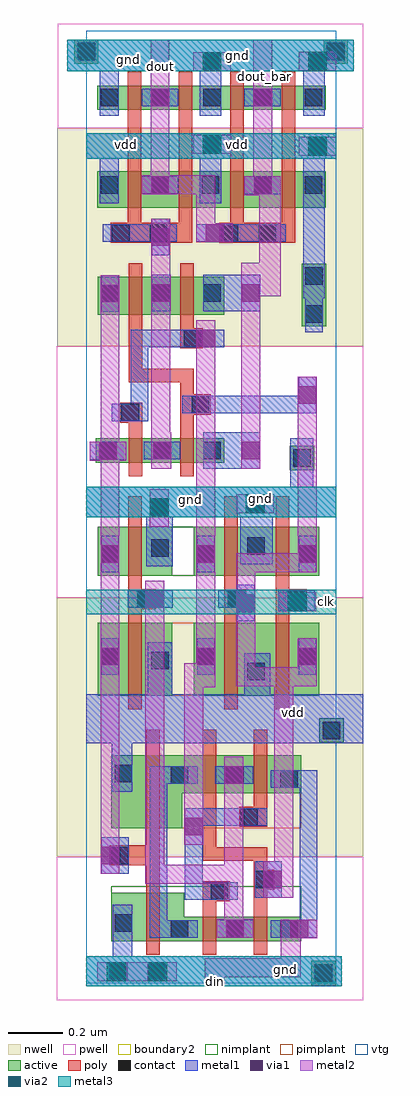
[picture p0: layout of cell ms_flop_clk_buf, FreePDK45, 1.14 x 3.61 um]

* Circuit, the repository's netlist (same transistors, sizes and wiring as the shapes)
************************************************************************
* auCdl Netlist:
* 
* Library Name:  openram
* Top Cell Name: ms_flop_clk_buf
* View Name:     schematic
* Netlisted on:  Jan 18 01:43:54 2021
************************************************************************

*.EQUATION
*.SCALE METER
*.MEGA
.PARAM



************************************************************************
* Library Name: openram
* Cell Name:    dlatch_clk_clk_bar
* View Name:    schematic
************************************************************************

.SUBCKT dlatch_clk_clk_bar clk clk_bar din dout dout_bar gnd vdd
MM4 int clk_bar din gnd NMOS_VTG W=90n L=50n m=1
MM2 int clk dout gnd NMOS_VTG W=90n L=50n m=1
MM0 dout dout_bar gnd gnd NMOS_VTG W=180.0n L=50n m=1
MM12 dout_bar int gnd gnd NMOS_VTG W=180.0n L=50n m=1
MM5 int clk din vdd PMOS_VTG W=140.0n L=50n m=1
MM3 int clk_bar dout vdd PMOS_VTG W=140.0n L=50n m=1
MM1 dout dout_bar vdd vdd PMOS_VTG W=270.0n L=50n m=1
MM11 dout_bar int vdd vdd PMOS_VTG W=270.0n L=50n m=1
.ENDS

************************************************************************
* Library Name: openram
* Cell Name:    ms_flop_clk_buf
* View Name:    schematic
************************************************************************

.SUBCKT ms_flop_clk_buf clk din dout dout_bar gnd vdd
XI1 clk_bar clk_buf mout_bar dout_bar dout gnd vdd / dlatch_clk_clk_bar
XI0 clk_buf clk_bar din mout mout_bar gnd vdd / dlatch_clk_clk_bar
MM1 clk_buf clk_bar gnd gnd NMOS_VTG W=90n L=50n m=2
MM12 clk_bar clk gnd gnd NMOS_VTG W=90n L=50n m=2
MM0 clk_buf clk_bar vdd vdd PMOS_VTG W=135.00n L=50n m=2
MM11 clk_bar clk vdd vdd PMOS_VTG W=135.00n L=50n m=2
.ENDS

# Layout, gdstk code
from math import pi, radians
import gdstk
lib = gdstk.Library(unit=1e-6, precision=5e-10)
def R(c, l, rs):  # rectangles x0, y0, x1, y1
    for r in rs: c.add(gdstk.rectangle(r[:2], r[2:], *l))
def A(c, l, x, y, w, h, nx, ny, dx, dy):  # array of equal rectangles
    R(c, l, [(x+i*dx, y+j*dy, x+i*dx+w, y+j*dy+h) for i in range(nx) for j in range(ny)])
active = (1, 0)
pwell = (2, 0)
nwell = (3, 0)
nimplant = (4, 0)
pimplant = (5, 0)
vtg = (6, 0)
poly = (9, 0)
contact = (10, 0)
metal1 = (11, 0)
via1 = (12, 0)
metal2 = (13, 0)
via2 = (14, 0)
metal3 = (15, 0)
boundary2 = (239, 0)

m1_p_cdns_611742388560 = lib.new_cell('M1_P_CDNS_611742388560')
R(m1_p_cdns_611742388560, active, [(-0.045,-0.045,0.045,0.045)])
R(m1_p_cdns_611742388560, pimplant, [(-0.045,-0.045,0.045,0.045)])
R(m1_p_cdns_611742388560, contact, [(-0.0325,-0.0325,0.0325,0.0325)])
R(m1_p_cdns_611742388560, metal1, [(-0.0325,-0.0675,0.0325,0.0675)])

m1_poly_cdns_61174238856 = lib.new_cell('M1_POLY_CDNS_611742388561')
R(m1_poly_cdns_61174238856, poly, [(-0.0375,-0.0375,0.0375,0.0375)])
R(m1_poly_cdns_61174238856, contact, [(-0.0325,-0.0325,0.0325,0.0325)])
R(m1_poly_cdns_61174238856, metal1, [(-0.0325,-0.0675,0.0325,0.0675)])

m1_n_cdns_611742388562 = lib.new_cell('M1_N_CDNS_611742388562')
R(m1_n_cdns_611742388562, active, [(-0.045,-0.045,0.045,0.045)])
R(m1_n_cdns_611742388562, nimplant, [(-0.045,-0.045,0.045,0.045)])
R(m1_n_cdns_611742388562, contact, [(-0.0325,-0.0325,0.0325,0.0325)])
R(m1_n_cdns_611742388562, metal1, [(-0.0325,-0.0675,0.0325,0.0675)])

m2_m1_cdns_611742388563 = lib.new_cell('M2_M1_CDNS_611742388563')
R(m2_m1_cdns_611742388563, metal1, [(-0.0325,-0.0675,0.0325,0.0675)])
R(m2_m1_cdns_611742388563, via1, [(-0.0325,-0.0325,0.0325,0.0325)])
R(m2_m1_cdns_611742388563, metal2, [(-0.0675,-0.035,0.0675,0.035)])

m2_m1_cdns_611742388564 = lib.new_cell('M2_M1_CDNS_611742388564')
R(m2_m1_cdns_611742388564, metal1, [(-0.0325,-0.0675,0.0325,0.0675)])
R(m2_m1_cdns_611742388564, via1, [(-0.0325,-0.0325,0.0325,0.0325)])
R(m2_m1_cdns_611742388564, metal2, [(-0.035,-0.0675,0.035,0.0675)])

c_m1_poly_cdns_61174238856 = lib.new_cell('M1_POLY_CDNS_611742388565')
R(c_m1_poly_cdns_61174238856, poly, [(-0.0375,-0.1075,0.0375,0.1075)])
R(c_m1_poly_cdns_61174238856, contact, [(-0.0325,-0.1025,0.0325,-0.0375), (-0.0325,0.0375,0.0325,0.1025)])
R(c_m1_poly_cdns_61174238856, metal1, [(-0.0325,-0.1375,0.0325,0.1375)])

ntap_cdns_611742388566 = lib.new_cell('NTAP_CDNS_611742388566')
R(ntap_cdns_611742388566, active, [(-0.045,-0.115,0.045,0.115)])
R(ntap_cdns_611742388566, nwell, [(-0.1,-0.17,0.1,0.17)])
R(ntap_cdns_611742388566, nimplant, [(-0.045,-0.115,0.045,0.115)])
R(ntap_cdns_611742388566, contact, [(-0.0325,-0.1025,0.0325,-0.0375), (-0.0325,0.0375,0.0325,0.1025)])
R(ntap_cdns_611742388566, metal1, [(-0.0325,-0.1375,0.0325,0.1375)])

m3_m2_cdns_611742388567 = lib.new_cell('M3_M2_CDNS_611742388567')
R(m3_m2_cdns_611742388567, metal2, [(-0.035,-0.07,0.035,0.07)])
R(m3_m2_cdns_611742388567, via2, [(-0.035,-0.035,0.035,0.035)])
R(m3_m2_cdns_611742388567, metal3, [(-0.035,-0.07,0.035,0.07)])

m3_m2_cdns_611742388568 = lib.new_cell('M3_M2_CDNS_611742388568')
R(m3_m2_cdns_611742388568, metal2, [(-0.035,-0.07,0.035,0.07)])
R(m3_m2_cdns_611742388568, via2, [(-0.035,-0.035,0.035,0.035)])
R(m3_m2_cdns_611742388568, metal3, [(-0.07,-0.035,0.07,0.035)])

m2_m1_cdns_611742388569 = lib.new_cell('M2_M1_CDNS_611742388569')
R(m2_m1_cdns_611742388569, metal1, [(-0.0325,-0.1375,0.0325,0.1375)])
R(m2_m1_cdns_611742388569, via1, [(-0.0325,-0.1025,0.0325,-0.0375), (-0.0325,0.0375,0.0325,0.1025)])
R(m2_m1_cdns_611742388569, metal2, [(-0.035,-0.1375,0.035,0.1375)])

m3_m2_cdns_6117423885610 = lib.new_cell('M3_M2_CDNS_6117423885610')
R(m3_m2_cdns_6117423885610, metal2, [(-0.035,-0.1475,0.035,0.1475)])
R(m3_m2_cdns_6117423885610, via2, [(-0.035,-0.1125,0.035,-0.0425), (-0.035,0.0425,0.035,0.1125)])
R(m3_m2_cdns_6117423885610, metal3, [(-0.035,-0.1475,0.035,0.1475)])

ms_flop_clk_buf = lib.new_cell('ms_flop_clk_buf')
R(ms_flop_clk_buf, active, [(0.8325,0.005,0.9225,0.095), (0.0925,0.1675,0.3625,0.3475), (0.3175,0.1675,0.7825,0.2575), (0.0925,0.585,0.355,0.855), (0.305,0.715,0.795,0.855), (0.8625,0.9025,0.9525,0.9925), (0.0425,1.075,0.3175,1.345), (0.3975,1.075,0.8625,1.345), (0.0425,1.52,0.3175,1.7), (0.3975,1.52,0.8625,1.7), (0.7525,1.91,0.8425,2), (0.035,1.9375,0.51,2.0275), (0.0425,2.485,0.51,2.625), (0.04,2.88,0.885,3.015), (0.04,3.2425,0.885,3.3325), (-0.045,3.4125,0.045,3.5025), (0.8775,3.4125,0.9675,3.5025)])
R(ms_flop_clk_buf, pwell, [(-0.11,-0.05,1.025,0.48), (-0.11,1.4375,1.025,2.3675), (-0.105,3.175,1.025,3.56)])
R(ms_flop_clk_buf, nwell, [(-0.11,0.48,1.025,1.4375), (-0.1075,2.3675,1.025,3.175)])
R(ms_flop_clk_buf, nimplant, [(0.0925,0.1675,0.795,0.37), (0.8625,0.9025,0.9525,0.9925), (0.0425,1.52,0.8625,1.7), (0.035,1.9375,0.51,2.0275), (0.04,3.2425,0.885,3.3325)])
R(ms_flop_clk_buf, pimplant, [(0.8325,0.005,0.9225,0.095), (0.0925,0.585,0.795,0.855), (0.0425,1.075,0.8625,1.345), (0.7525,1.91,0.8425,2), (0.0425,2.485,0.51,2.625), (0.04,2.88,0.885,3.015), (-0.045,3.4125,0.045,3.5025), (0.8775,3.4125,0.9675,3.5025)])
R(ms_flop_clk_buf, vtg, [(0,0.0125,0.925,3.535)])
A(ms_flop_clk_buf, poly, 0.1525, 2.75, 0.05, 0.6325, 4, 1, 0.19, 0)
R(ms_flop_clk_buf, poly, [(0.2225,0.1175,0.2725,0.95), (0.43,0.1175,0.48,0.39), (0.62,0.1175,0.67,0.515), (0.0875,0.4475,0.2625,0.5225), (0.43,0.465,0.67,0.515), (0.43,0.51,0.48,0.95), (0.62,0.59,0.67,0.95), (0.155,1.025,0.205,1.8125), (0.51,1.025,0.56,1.8125), (0.7,1.025,0.75,1.8125), (0.1575,1.8875,0.2075,2.16), (0.3475,1.8875,0.3975,2.235), (0.1575,2.235,0.3975,2.285), (0.1575,2.235,0.2075,2.675), (0.3475,2.36,0.3975,2.675), (0.275,2.75,0.3825,2.825), (0.69,2.75,0.7425,2.825)])
R(ms_flop_clk_buf, contact, [(0.845,0.0175,0.91,0.0825), (0.875,0.915,0.94,0.98), (0.765,1.9225,0.83,1.9875), (-0.0325,3.425,0.0325,3.49), (0.89,3.425,0.955,3.49)])
R(ms_flop_clk_buf, metal1, [(0,0,0.945,0.1125), (0.0975,0.0125,0.17,0.3025), (0.235,0.18,0.3475,0.245), (0.79,0.18,0.855,0.8), (0.235,0.215,0.3,0.815), (0.365,0.32,0.43,0.5475), (0.365,0.525,0.43,0.6375), (0.375,0.595,0.555,0.66), (0.095,0.72,0.17,1.0025), (0,0.9,1.025,1.08), (0.585,0.995,0.68,1.2325), (0.2275,1.0475,0.3175,1.2725), (0.2225,1.555,0.32,1.77), (0.57,1.5625,0.69,1.7575), (0,1.735,0.925,1.8475), (0.755,1.78,0.84,2.0275), (0.48,1.915,0.6425,2.05), (0.165,2.09,0.23,2.43), (0.39,2.12,0.85,2.185), (0.165,2.365,0.49,2.43), (0.4325,2.4975,0.6425,2.6325), (0.8025,2.545,0.8825,3.1125), (0.05,2.8975,0.12,3.12), (0.42,2.8975,0.5,3.11), (0,3.0625,0.925,3.155), (0.05,3.22,0.12,3.4425), (0.42,3.22,0.5,3.4325), (0.8025,3.22,0.8825,3.4375), (-0.07,3.385,0.99,3.5025), (0.3975,3.3875,0.5325,3.4525), (0.7875,3.39,0.9225,3.455)])
R(ms_flop_clk_buf, via1, [(0.4325,3.3875,0.4975,3.4525), (0.8225,3.39,0.8875,3.455)])
R(ms_flop_clk_buf, metal2, [(0.4375,0,0.51,0.0925), (0.4375,0.035,0.7475,0.105), (0.72,0.035,0.7925,0.2475), (0.51,0.18,0.58,0.815), (0.695,0.3275,0.765,1.18), (0.2175,0.38,0.2875,1.465), (0.2175,0.38,0.58,0.45), (0.0525,0.4625,0.1225,2.6225), (0.3625,0.64,0.4325,1.195), (0.4075,1.1075,0.4775,2.45), (0.555,1.11,0.625,1.5775), (0.555,1.11,0.85,1.18), (0.7825,1.11,0.8525,1.285), (0.555,1.5325,0.8525,1.6025), (0.7825,1.5325,0.8525,2.17), (0.24,1.915,0.31,2.79), (0.5725,1.915,0.6425,2.6775), (0.64,2.5525,0.72,2.9975), (0.4075,2.7525,0.4775,3), (0.205,2.93,0.4775,3), (0.6175,2.9425,0.6875,3.5025), (0.2375,2.945,0.3075,3.5025), (0.395,3.385,0.535,3.455), (0.3975,3.385,0.5325,3.455), (0.785,3.3875,0.925,3.4575), (0.7875,3.3875,0.9225,3.4575)])
R(ms_flop_clk_buf, via2, [(0.43,3.385,0.5,3.455), (0.82,3.3875,0.89,3.4575)])
R(ms_flop_clk_buf, metal3, [(0,0,0.945,0.1125), (0,1.3775,0.925,1.4675), (0,1.735,0.925,1.8475), (0,3.0625,0.925,3.155), (-0.07,3.385,0.99,3.5025), (0.395,3.385,0.535,3.455), (0.785,3.3875,0.925,3.4575)])
R(ms_flop_clk_buf, boundary2, [(0,0,0.925,3.5025)])
ms_flop_clk_buf.add(gdstk.Reference(m1_p_cdns_611742388560, (0.085,2.965), x_reflection=True))
ms_flop_clk_buf.add(gdstk.Reference(m1_p_cdns_611742388560, (0.2725,2.965), rotation=3*pi/2, x_reflection=True))
ms_flop_clk_buf.add(gdstk.Reference(m1_p_cdns_611742388560, (0.46,2.965), x_reflection=True))
ms_flop_clk_buf.add(gdstk.Reference(m1_p_cdns_611742388560, (0.6525,2.965), rotation=3*pi/2, x_reflection=True))
ms_flop_clk_buf.add(gdstk.Reference(m1_p_cdns_611742388560, (0.84,2.965), x_reflection=True))
ms_flop_clk_buf.add(gdstk.Reference(m1_p_cdns_611742388560, (0.465,2.565), x_reflection=True))
ms_flop_clk_buf.add(gdstk.Reference(m1_p_cdns_611742388560, (0.1375,0.7875)))
ms_flop_clk_buf.add(gdstk.Reference(m1_p_cdns_611742388560, (0.2725,1.205), x_reflection=True))
ms_flop_clk_buf.add(gdstk.Reference(m1_p_cdns_611742388560, (0.0875,1.22), x_reflection=True))
ms_flop_clk_buf.add(gdstk.Reference(m1_p_cdns_611742388560, (0.4425,1.22), x_reflection=True))
ms_flop_clk_buf.add(gdstk.Reference(m1_p_cdns_611742388560, (0.6275,1.165), x_reflection=True))
ms_flop_clk_buf.add(gdstk.Reference(m1_p_cdns_611742388560, (0.8175,1.22), x_reflection=True))
ms_flop_clk_buf.add(gdstk.Reference(m1_p_cdns_611742388560, (0.0875,2.5625), x_reflection=True))
ms_flop_clk_buf.add(gdstk.Reference(m1_p_cdns_611742388560, (0.55,0.7825), rotation=3*pi/2))
ms_flop_clk_buf.add(gdstk.Reference(m1_p_cdns_611742388560, (0.75,0.7675), rotation=3*pi/2))
ms_flop_clk_buf.add(gdstk.Reference(m1_p_cdns_611742388560, (0.345,0.7825), rotation=pi/2))
ms_flop_clk_buf.add(gdstk.Reference(m1_p_cdns_611742388560, (0.275,2.565), x_reflection=True))
ms_flop_clk_buf.add(gdstk.Reference(m1_poly_cdns_61174238856, (0.6025,0.6275), rotation=3*pi/2))
ms_flop_clk_buf.add(gdstk.Reference(m1_poly_cdns_61174238856, (0.4925,0.3525), rotation=3*pi/2))
ms_flop_clk_buf.add(gdstk.Reference(m1_poly_cdns_61174238856, (0.3925,2.3975), rotation=3*pi/2))
ms_flop_clk_buf.add(gdstk.Reference(m1_poly_cdns_61174238856, (0.1625,2.1225), rotation=3*pi/2))
ms_flop_clk_buf.add(gdstk.Reference(m1_poly_cdns_61174238856, (0.125,0.485), rotation=pi))
ms_flop_clk_buf.add(gdstk.Reference(m1_poly_cdns_61174238856, (0.22,1.4325), rotation=pi/2))
ms_flop_clk_buf.add(gdstk.Reference(m1_poly_cdns_61174238856, (0.7775,1.4325), rotation=pi/2))
ms_flop_clk_buf.add(gdstk.Reference(m1_poly_cdns_61174238856, (0.555,1.4325), rotation=pi/2))
ms_flop_clk_buf.add(gdstk.Reference(m1_poly_cdns_61174238856, (0.6575,0.395)))
ms_flop_clk_buf.add(gdstk.Reference(m1_poly_cdns_61174238856, (0.4225,2.1525), rotation=3*pi/2))
ms_flop_clk_buf.add(gdstk.Reference(m1_n_cdns_611742388562, (0.085,3.2875), rotation=pi, x_reflection=True))
ms_flop_clk_buf.add(gdstk.Reference(m1_n_cdns_611742388562, (0.84,3.2875), rotation=pi, x_reflection=True))
ms_flop_clk_buf.add(gdstk.Reference(m1_n_cdns_611742388562, (0.6525,3.2875), rotation=pi/2, x_reflection=True))
ms_flop_clk_buf.add(gdstk.Reference(m1_n_cdns_611742388562, (0.2725,3.2875), rotation=pi/2, x_reflection=True))
ms_flop_clk_buf.add(gdstk.Reference(m1_n_cdns_611742388562, (0.465,3.2875), rotation=pi, x_reflection=True))
ms_flop_clk_buf.add(gdstk.Reference(m1_n_cdns_611742388562, (0.465,1.9825), rotation=pi, x_reflection=True))
ms_flop_clk_buf.add(gdstk.Reference(m1_n_cdns_611742388562, (0.1375,0.235), rotation=pi))
ms_flop_clk_buf.add(gdstk.Reference(m1_n_cdns_611742388562, (0.8175,1.6), rotation=pi, x_reflection=True))
ms_flop_clk_buf.add(gdstk.Reference(m1_n_cdns_611742388562, (0.0875,1.6), rotation=pi, x_reflection=True))
ms_flop_clk_buf.add(gdstk.Reference(m1_n_cdns_611742388562, (0.4425,1.6), rotation=pi, x_reflection=True))
ms_flop_clk_buf.add(gdstk.Reference(m1_n_cdns_611742388562, (0.08,1.9825), rotation=3*pi/2, x_reflection=True))
ms_flop_clk_buf.add(gdstk.Reference(m1_n_cdns_611742388562, (0.6275,1.63), rotation=pi, x_reflection=True))
ms_flop_clk_buf.add(gdstk.Reference(m1_n_cdns_611742388562, (0.28,1.9825), rotation=3*pi/2, x_reflection=True))
ms_flop_clk_buf.add(gdstk.Reference(m1_n_cdns_611742388562, (0.2725,1.6225), rotation=pi, x_reflection=True))
ms_flop_clk_buf.add(gdstk.Reference(m1_n_cdns_611742388562, (0.345,0.2125), rotation=3*pi/2, x_reflection=True))
ms_flop_clk_buf.add(gdstk.Reference(m1_n_cdns_611742388562, (0.75,0.2125), rotation=pi/2, x_reflection=True))
ms_flop_clk_buf.add(gdstk.Reference(m1_n_cdns_611742388562, (0.55,0.2125), rotation=pi/2, x_reflection=True))
ms_flop_clk_buf.add(gdstk.Reference(m2_m1_cdns_611742388563, (0.27,1.7725), rotation=pi/2, x_reflection=True))
ms_flop_clk_buf.add(gdstk.Reference(m2_m1_cdns_611742388563, (0.2725,3.2875), rotation=pi/2, x_reflection=True))
ms_flop_clk_buf.add(gdstk.Reference(m2_m1_cdns_611742388563, (0.6525,3.2875), rotation=pi/2, x_reflection=True))
ms_flop_clk_buf.add(gdstk.Reference(m2_m1_cdns_611742388563, (0.28,1.9825), rotation=pi/2, x_reflection=True))
ms_flop_clk_buf.add(gdstk.Reference(m2_m1_cdns_611742388563, (0.4425,2.3975), rotation=pi/2, x_reflection=True))
ms_flop_clk_buf.add(gdstk.Reference(m2_m1_cdns_611742388563, (0.545,0.7825), rotation=pi/2, x_reflection=True))
ms_flop_clk_buf.add(gdstk.Reference(m2_m1_cdns_611742388563, (0.2525,1.4325), rotation=pi/2, x_reflection=True))
ms_flop_clk_buf.add(gdstk.Reference(m2_m1_cdns_611742388564, (0.465,3.115), rotation=pi/2, x_reflection=True))
ms_flop_clk_buf.add(gdstk.Reference(m2_m1_cdns_611742388564, (0.855,3.1075), rotation=pi/2, x_reflection=True))
ms_flop_clk_buf.add(gdstk.Reference(m2_m1_cdns_611742388564, (0.6275,1.785), rotation=pi/2, x_reflection=True))
ms_flop_clk_buf.add(gdstk.Reference(m2_m1_cdns_611742388564, (0.4425,1.6), rotation=pi, x_reflection=True))
ms_flop_clk_buf.add(gdstk.Reference(m2_m1_cdns_611742388564, (0.4425,1.22), rotation=pi, x_reflection=True))
ms_flop_clk_buf.add(gdstk.Reference(m2_m1_cdns_611742388564, (0.0875,2.5625), rotation=pi, x_reflection=True))
ms_flop_clk_buf.add(gdstk.Reference(m2_m1_cdns_611742388564, (0.0875,1.22), rotation=pi, x_reflection=True))
ms_flop_clk_buf.add(gdstk.Reference(m2_m1_cdns_611742388564, (0.0875,1.6), rotation=pi, x_reflection=True))
ms_flop_clk_buf.add(gdstk.Reference(m2_m1_cdns_611742388564, (0.7775,1.4225), rotation=pi/2, x_reflection=True))
ms_flop_clk_buf.add(gdstk.Reference(m2_m1_cdns_611742388564, (0.7875,0.2125), rotation=pi/2, x_reflection=True))
ms_flop_clk_buf.add(gdstk.Reference(m2_m1_cdns_611742388564, (0.275,2.7725), rotation=pi, x_reflection=True))
ms_flop_clk_buf.add(gdstk.Reference(m2_m1_cdns_611742388564, (0.2725,2.965), rotation=pi/2, x_reflection=True))
ms_flop_clk_buf.add(gdstk.Reference(m2_m1_cdns_611742388564, (0.475,2.7875), rotation=pi/2, x_reflection=True))
ms_flop_clk_buf.add(gdstk.Reference(m2_m1_cdns_611742388564, (0.6525,2.9625), rotation=pi/2, x_reflection=True))
ms_flop_clk_buf.add(gdstk.Reference(m2_m1_cdns_611742388564, (0.6075,2.565), rotation=pi, x_reflection=True))
ms_flop_clk_buf.add(gdstk.Reference(m2_m1_cdns_611742388564, (0.6075,1.9825), rotation=pi, x_reflection=True))
ms_flop_clk_buf.add(gdstk.Reference(m2_m1_cdns_611742388564, (0.8175,1.6), rotation=pi, x_reflection=True))
ms_flop_clk_buf.add(gdstk.Reference(m2_m1_cdns_611742388564, (0.8175,1.22), rotation=pi, x_reflection=True))
ms_flop_clk_buf.add(gdstk.Reference(m2_m1_cdns_611742388564, (0.0875,0.485), rotation=pi, x_reflection=True))
ms_flop_clk_buf.add(gdstk.Reference(m2_m1_cdns_611742388564, (0.69,0.395), rotation=pi, x_reflection=True))
ms_flop_clk_buf.add(gdstk.Reference(m2_m1_cdns_611742388564, (0.55,0.215), rotation=pi/2))
ms_flop_clk_buf.add(gdstk.Reference(m2_m1_cdns_611742388564, (0.3975,0.5925), rotation=pi, x_reflection=True))
ms_flop_clk_buf.add(gdstk.Reference(m2_m1_cdns_611742388564, (0.59,1.4175), rotation=pi, x_reflection=True))
ms_flop_clk_buf.add(gdstk.Reference(m2_m1_cdns_611742388564, (0.8175,2.1875), rotation=pi, x_reflection=True))
ms_flop_clk_buf.add(gdstk.Reference(m2_m1_cdns_611742388564, (0.08,1.98), rotation=pi/2, x_reflection=True))
ms_flop_clk_buf.add(gdstk.Reference(m2_m1_cdns_611742388564, (0.2775,2.565), x_reflection=True))
ms_flop_clk_buf.add(gdstk.Reference(c_m1_poly_cdns_61174238856, (0.6,2.7875), rotation=pi/2, x_reflection=True))
ms_flop_clk_buf.add(gdstk.Reference(c_m1_poly_cdns_61174238856, (0.1975,2.7875), rotation=pi/2, x_reflection=True))
ms_flop_clk_buf.add(gdstk.Reference(ntap_cdns_611742388566, (0.8425,2.5575), rotation=pi, x_reflection=True))
ms_flop_clk_buf.add(gdstk.Reference(m3_m2_cdns_611742388567, (0.855,3.1075), rotation=pi/2, x_reflection=True))
ms_flop_clk_buf.add(gdstk.Reference(m3_m2_cdns_611742388567, (0.465,3.115), rotation=pi/2, x_reflection=True))
ms_flop_clk_buf.add(gdstk.Reference(m3_m2_cdns_611742388567, (0.625,1.785), rotation=pi/2, x_reflection=True))
ms_flop_clk_buf.add(gdstk.Reference(m3_m2_cdns_611742388567, (0.78,1.4225), rotation=pi/2, x_reflection=True))
ms_flop_clk_buf.add(gdstk.Reference(m3_m2_cdns_611742388568, (0.27,1.77), rotation=pi, x_reflection=True))
ms_flop_clk_buf.add(gdstk.Reference(m2_m1_cdns_611742388569, (0.19,0.055), rotation=pi/2, x_reflection=True))
ms_flop_clk_buf.add(gdstk.Reference(m3_m2_cdns_6117423885610, (0.1875,0.055), rotation=pi/2, x_reflection=True))
ms_flop_clk_buf.add(gdstk.Label('gnd', (0.6425,1.805), layer=11, texttype=0))
ms_flop_clk_buf.add(gdstk.Label('gnd', (0.5575,3.445), layer=11, texttype=0))
ms_flop_clk_buf.add(gdstk.Label('vdd', (0.5575,3.115), layer=11, texttype=0))
ms_flop_clk_buf.add(gdstk.Label('gnd', (0.735,0.0625), layer=11, texttype=0))
ms_flop_clk_buf.add(gdstk.Label('vdd', (0.765,1.0125), layer=11, texttype=0))
ms_flop_clk_buf.add(gdstk.Label('dout', (0.275,3.4025), layer=13, texttype=0))
ms_flop_clk_buf.add(gdstk.Label('dout_bar', (0.6575,3.365), layer=13, texttype=0))
ms_flop_clk_buf.add(gdstk.Label('din', (0.4775,0.0175), layer=13, texttype=0))
ms_flop_clk_buf.add(gdstk.Label('vdd', (0.15,3.115), layer=15, texttype=0))
ms_flop_clk_buf.add(gdstk.Label('gnd', (0.155,3.43), layer=15, texttype=0))
ms_flop_clk_buf.add(gdstk.Label('gnd', (0.52,0.06), layer=15, texttype=0))
ms_flop_clk_buf.add(gdstk.Label('gnd', (0.385,1.8025), layer=15, texttype=0))
ms_flop_clk_buf.add(gdstk.Label('clk', (0.8875,1.4225), layer=15, texttype=0))

lib.write_gds('ms_flop_clk_buf.gds')
